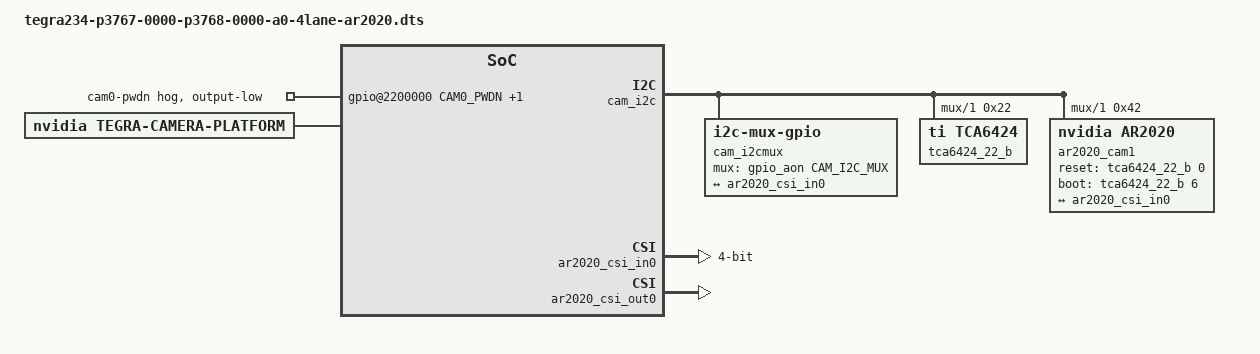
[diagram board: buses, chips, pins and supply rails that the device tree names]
/*
 * Copyright (c) 2023-2024, NVIDIA CORPORATION.  All rights reserved.
 *
 * This program is free software; you can redistribute it and/or modify
 * it under the terms of the GNU General Public License as published by
 * the Free Software Foundation; either version 2 of the License, or
 * (at your option) any later version.
 *
 * This program is distributed in the hope that it will be useful, but WITHOUT
 * ANY WARRANTY; without even the implied warranty of MERCHANTABILITY or
 * FITNESS FOR A PARTICULAR PURPOSE.  See the GNU General Public License for
 * more details.
 *
 * You should have received a copy of the GNU General Public License
 * along with this program.  If not, see <http://www.gnu.org/licenses/>.
 */

/dts-v1/;
/plugin/;

#define CAM0_PWDN       TEGRA234_MAIN_GPIO(H, 6)
#define CAM1_PWDN       TEGRA234_MAIN_GPIO(AC, 0)
#define CAM_I2C_MUX     TEGRA234_AON_GPIO(CC, 3)

#include <dt-bindings/clock/tegra234-clock.h>
#include <dt-bindings/gpio/tegra234-gpio.h>
#include <dt-bindings/tegra234-p3767-0000-common.h>

/ {
	overlay-name = "Jetson camera AR2020 4lane";
	jetson-header-name = "Jetson 22pin CSI Connector";
	compatible = JETSON_COMPATIBLE_P3768;
	fragment@0 {
	target-path = "/";
	__overlay__ {

	bus@0 {

        cam_i2cmux{
                compatible = "i2c-mux-gpio";
                #address-cells = <1>;
                #size-cells = <0>;
                i2c-parent = <&cam_i2c>;
                mux-gpios = <&gpio_aon CAM_I2C_MUX GPIO_ACTIVE_HIGH>;
		i2c@1 {
                        reg = <1>;
                        #address-cells = <1>;
                        #size-cells = <0>;
                        tca6424_22_b: tca6424@22 {
                            compatible = "ti,tca6424";
                            gpio-controller;
			     #gpio-cells = <2>;
                            reg = <0x22>;
                            //vcc-supply = <&p3768_vdd_3v3_sys>;
                            status = "okay";

                            tca6424_22_outlow {
                                /*
                                  * GPIO-0  : RST_CAM1
                                  * GPIO-4  : TRIGGER_CAM1
                                  * GPIO-6  : BOOT_CAM1
                                */
                                 gpio-hog;
                                 gpios = <0 0 1 0 2 0 3 0 4 0 5 0 6 0 7 1>;
                                 output-low;
                                 label = "tca6424_22_outlow_0",
                                         "tca6424_22_outlow_1",
                                         "tca6424_22_outlow_2",
                                         "tca6424_22_outlow_3",
                                         "tca6424_22_outlow_4",
                                         "tca6424_22_outlow_5",
                                         "tca6424_22_outlow_6",
                                         "tca6424_22_outlow_7";
                            };
                            tca6424_22_outhigh {
                                    status = "disabled";
                            };
                            tca6424_22_input {
                                    status = "disabled";
                            };


                        };
			ar2020_c@42 {
                                reset-gpios = <&tca6424_22_b 0 GPIO_ACTIVE_HIGH>;
                                boot-gpios  = <&tca6424_22_b 6 GPIO_ACTIVE_HIGH>;
                        };

                };
        };

        gpio@2200000 {
                camera-control-output-low {
                        gpio-hog;
                        output-low;
                        gpios = <CAM0_PWDN 0 CAM1_PWDN 0>;
                        label = "cam0-pwdn","cam1-pwdn";
                };
        };
};
};
};
	fragment@1 {
	target-path = "/";
	__overlay__ {
	tegra-capture-vi {
			num-channels = <1>;
			status = "okay";
			ports {
				#address-cells = <1>;
				#size-cells = <0>;
			port@0 {
					reg = <0>;
					status = "okay";
					ar2020_vi_in0: endpoint {
						status = "okay";
						port-index = <2>;
						bus-width = <4>;
						remote-endpoint = <&ar2020_csi_out0>;
					};
				};
			};
		};
	tegra-camera-platform {
		compatible = "nvidia, tegra-camera-platform";
		/**
		* Physical settings to calculate max ISO BW
		*
		* num_csi_lanes = <>;
		* Total number of CSI lanes when all cameras are active
		*
		* max_lane_speed = <>;
		* Max lane speed in Kbit/s
		*
		* min_bits_per_pixel = <>;
		* Min bits per pixel
		*
		* vi_peak_byte_per_pixel = <>;
		* Max byte per pixel for the VI ISO case
		*
		* vi_bw_margin_pct = <>;
		* Vi bandwidth margin in percentage
		*
		* max_pixel_rate = <>;
		* Max pixel rate in Kpixel/s for the ISP ISO case
		*
		* isp_peak_byte_per_pixel = <>;
		* Max byte per pixel for the ISP ISO case
		*
		* isp_bw_margin_pct = <>;
		* Isp bandwidth margin in percentage
		*/
		num_csi_lanes = <16>;
		max_lane_speed = <1500000>;
		min_bits_per_pixel = <10>;
		vi_peak_byte_per_pixel = <2>;
		vi_bw_margin_pct = <25>;

		/**
		 * The general guideline for naming badge_info contains 3 parts, and is as follows,
		 * The first part is the camera_board_id for the module; if the module is in a FFD
		 * platform, then use the platform name for this part.
		 * The second part contains the position of the module, ex. "rear" or "front".
		 * The third part contains the last 6 characters of a part number which is found
		 * in the module's specsheet from the vendor.
		 */
		modules {
			module0 {
				badge = "porg_front_ar2020";
				position = "front";
				orientation = "1";
				status = "okay";
				drivernode0 {
					pcl_id = "v4l2_sensor";
					devname = "e-con_cam 9-0042";
					sysfs-device-tree = "/sys/firmware/devicetree/base/bus@0/cam_i2cmux/i2c@1/ar2020_c@42";
				};
			};
		};
	};

	bus@0 {
	host1x@13e00000{
		nvcsi@15a00000 {
			num-channels = <1>;
			#address-cells = <1>;
			#size-cells = <0>;
			channel@0 {
				reg = <0>;
				status = "okay";
				ports {
					#address-cells = <1>;
					#size-cells = <0>;
					port@0 {
						reg = <0>;
						status = "okay";
						ar2020_csi_in0: endpoint@0 {
							status = "okay";
							port-index = <2>;
							bus-width = <4>;
							remote-endpoint = <&ar2020_ar2020_out0>;
						};
					};
					port@1 {
						reg = <1>;
						status = "okay";
						ar2020_csi_out0: endpoint@1 {
							status = "okay";
							remote-endpoint = <&ar2020_vi_in0>;
						};
					};
				};
			};
		};
	};
	cam_i2cmux {

		i2c@1 {
			ar2020_cam1: ar2020_c@42 {
				    status = "okay";
				    compatible = "nvidia,ar2020";
				    reg = <0x42>;
				    devnode = "video0";
				    sensor_model ="ar2020";
				    physical_w = "5.60";
				    physical_h = "3.175";
				    post_crop_frame_drop = "0";
				    use_decibel_gain = "false";
				    use_sensor_mode_id = "true";
				    use_dol_wdr_mode = "false";
				    use_master_slave_mode = "true";
				    limit_analog_gain = "true";
				    camera_mipi_lanes = <4>;
				    clocks = <&bpmp TEGRA234_CLK_EXTPERIPH1>,
					     <&bpmp TEGRA234_CLK_EXTPERIPH1>;
				    clock-names = "extperiph1", "pllp_grtba";
				    mclk = "extperiph1";
				    mcu_fw_name = "ar2020_cam_fw.bin";
				mode0 {
					mclk_khz = "20000";
					num_lanes = "4";
					tegra_sinterface = "serial_c";
					phy_mode = "DPHY";
					discontinuous_clk = "no";
					dpcm_enable = "false";
					cil_settletime = "20";
					dynamic_pixel_bit_depth = "10";
					csi_pixel_bit_depth = "10";
					mode_type = "bayer";
					pixel_phase = "grbg";

					active_w = "5120";
					active_h = "3840";
					readout_orientation = "0";
					line_length = "5120";
					inherent_gain = "1";
					mclk_multiplier = "30";
                                        pix_clk_hz = "600000000";


					framerate_factor = "1000000";
					min_framerate = "2500000";
					max_framerate = "30000000";
					step_framerate = "1";
					default_framerate = "30000000";
					
					gain_factor = "10000";
					min_gain_val = "10000";
					max_gain_val = "160000";
					step_gain_val = "1";
					default_gain = "10000";

					//gain_factor = "1000";
					//min_gain_val = "1";
					//max_gain_val = "21750";
					//step_gain_val = "375";
					//default_gain = "0";

					min_hdr_ratio = "1";
					max_hdr_ratio = "1";

					
					exposure_factor = "1000000";
					min_exp_time = "480";
					max_exp_time = "400000";
					step_exp_time = "1";
					default_exp_time = "400000";
					embedded_metadata_height = "0";
				    };


				mode1 {
					mclk_khz = "20000";
					num_lanes = "4";
					tegra_sinterface = "serial_c";
					phy_mode = "DPHY";
					discontinuous_clk = "no";
					dpcm_enable = "false";
					cil_settletime = "20";
					dynamic_pixel_bit_depth = "10";
					csi_pixel_bit_depth = "10";
					mode_type = "bayer";
					pixel_phase = "grbg";

					active_w = "3840";
					active_h = "2160";
					readout_orientation = "0";
					line_length = "3840";
					inherent_gain = "1";
					mclk_multiplier = "30";
                                        pix_clk_hz = "600000000";





					framerate_factor = "1000000";
					min_framerate = "2500000";
					max_framerate = "50000000";
					step_framerate = "1";
					default_framerate = "50000000";


					gain_factor = "10000";
					min_gain_val = "10000";
					max_gain_val = "160000";
					step_gain_val = "1";
					default_gain = "10000";

					//gain_factor = "1000";
					//min_gain_val = "1";
					//max_gain_val = "21750";
					//step_gain_val = "375";
					//default_gain = "0";

					min_hdr_ratio = "1";
					max_hdr_ratio = "1";

					
					exposure_factor = "1000000";
					min_exp_time = "480";
					max_exp_time = "400000";
					step_exp_time = "1";
					default_exp_time = "400000";
					embedded_metadata_height = "0";
				    };

				mode2 {
					mclk_khz = "20000";
					num_lanes = "4";
					tegra_sinterface = "serial_c";
					phy_mode = "DPHY";
					discontinuous_clk = "no";
					dpcm_enable = "false";
					cil_settletime = "20";
					dynamic_pixel_bit_depth = "10";
					csi_pixel_bit_depth = "10";
					mode_type = "bayer";
					pixel_phase = "grbg";

					active_w = "2560";
					active_h = "1920";
					readout_orientation = "0";
					line_length = "2560";
					inherent_gain = "1";
					mclk_multiplier = "30";
                                        pix_clk_hz = "600000000";





					framerate_factor = "1000000";
					min_framerate = "2500000";
					max_framerate = "60000000";
					step_framerate = "1";
					default_framerate = "60000000";


					gain_factor = "10000";
					min_gain_val = "10000";
					max_gain_val = "160000";
					step_gain_val = "1";
					default_gain = "10000";

					//gain_factor = "1000";
					//min_gain_val = "1";
					//max_gain_val = "21750";
					//step_gain_val = "375";
					//default_gain = "0";

					min_hdr_ratio = "1";
					max_hdr_ratio = "1";

					
					exposure_factor = "1000000";
					min_exp_time = "480";
					max_exp_time = "400000";
					step_exp_time = "1";
					default_exp_time = "400000";
					embedded_metadata_height = "0";
				    };



				mode3 {
					mclk_khz = "20000";
					num_lanes = "4";
					tegra_sinterface = "serial_c";
					phy_mode = "DPHY";
					discontinuous_clk = "no";
					dpcm_enable = "false";
					cil_settletime = "20";
					dynamic_pixel_bit_depth = "10";
					csi_pixel_bit_depth = "10";
					mode_type = "bayer";
					pixel_phase = "grbg";

					active_w = "1920";
					active_h = "1080";
					readout_orientation = "0";
					line_length = "1920";
					inherent_gain = "1";
					mclk_multiplier = "30";
                                        pix_clk_hz = "600000000";


					framerate_factor = "1000000";
					min_framerate = "2500000";
					max_framerate = "120000000";
					step_framerate = "1";
					default_framerate = "120000000";



					gain_factor = "10000";
					min_gain_val = "10000";
					max_gain_val = "160000";
					step_gain_val = "1";
					default_gain = "10000";

					//gain_factor = "1000";
					//min_gain_val = "1";
					//max_gain_val = "21750";
					//step_gain_val = "375";
					//default_gain = "0";

					min_hdr_ratio = "1";
					max_hdr_ratio = "1";

					
					exposure_factor = "1000000";
					min_exp_time = "480";
					max_exp_time = "400000";
					step_exp_time = "1";
					default_exp_time = "400000";
					embedded_metadata_height = "0";
				    };
				    ports {
					#address-cells = <1>;
					#size-cells = <0>;
					port@0 {
						reg = <0>;
						ar2020_ar2020_out0: endpoint {
							port-index = <2>;
							bus-width = <4>;
							remote-endpoint = <&ar2020_csi_in0>;
						};
					};
				    };
				};
		};
	};

};
};
};
};



